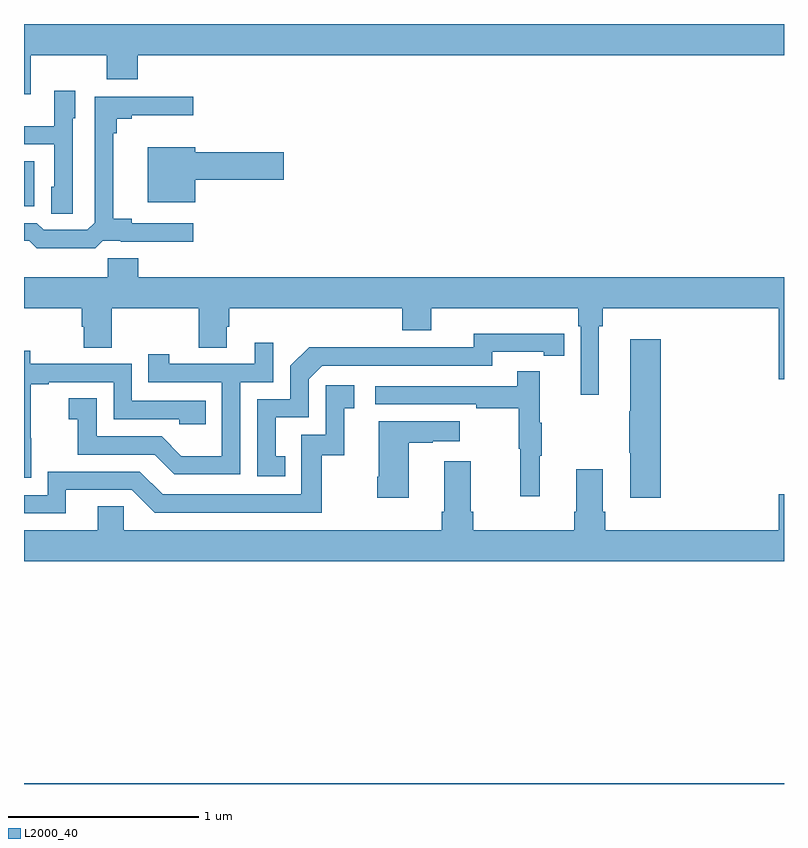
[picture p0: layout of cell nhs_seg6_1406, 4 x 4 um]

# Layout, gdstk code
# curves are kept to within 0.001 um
import gdstk
lib = gdstk.Library(unit=1e-6, precision=1e-09)
def R(c, l, rs):  # rectangles x0, y0, x1, y1
    for r in rs: c.add(gdstk.rectangle(r[:2], r[2:], *l))
def P(c, l, *ps):  # polygons
    for p in ps: c.add(gdstk.Polygon(p, *l))
L2000_40 = (2000, 40)

nhs_seg6_1406 = lib.new_cell('nhs_seg6_1406')
R(nhs_seg6_1406, L2000_40, [(197,943.5,201,943.504), (197,946.541,197.053,946.777)])
P(nhs_seg6_1406, L2000_40, [(197.035,947.336),(197.435,947.336),(197.435,947.208),(197.599,947.208),(197.599,947.336),(201,947.336),(201,947.5),(197,947.5),(197,947.13),(197.035,947.13)],
  [(197.256,947.004),(197.269,947.004),(197.269,947.149),(197.16,947.149),(197.16,946.963),(197,946.963),(197,946.866),(197.16,946.866),(197.16,946.644),(197.144,946.644),(197.144,946.501),(197.256,946.501)],
  [(197.415,946.359),(197.509,946.359),(197.509,946.355),(197.89,946.355),(197.89,946.452),(197.566,946.452),(197.566,946.475),(197.471,946.475),(197.471,946.925),(197.489,946.925),(197.489,947.002),(197.566,947.002),(197.566,947.021),(197.89,947.021),(197.89,947.118),(197.373,947.118),(197.373,946.455),(197.334,946.416),(197.103,946.416),(197.067,946.452),(197,946.452),(197,946.359),(197.028,946.359),(197.068,946.32),(197.375,946.32)],
  [(197.902,946.679),(198.367,946.679),(198.367,946.826),(197.902,946.826),(197.902,946.852),(197.651,946.852),(197.651,946.562),(197.902,946.562)],
  [(200.026,945.908),(200.045,945.908),(200.045,946.004),(200.972,946.004),(200.972,945.63),(201,945.63),(201,946.168),(197.6,946.168),(197.6,946.266),(197.44,946.266),(197.44,946.168),(197,946.168),(197,946.004),(197.303,946.004),(197.303,945.906),(197.315,945.906),(197.315,945.796),(197.463,945.796),(197.463,946.004),(197.92,946.004),(197.92,945.796),(198.067,945.796),(198.067,945.906),(198.08,945.906),(198.08,946.004),(198.992,946.004),(198.992,945.887),(199.144,945.887),(199.144,946.004),(199.916,946.004),(199.916,945.908),(199.929,945.908),(199.929,945.549),(200.026,945.549)],
  [(198.374,945.225),(198.325,945.225),(198.325,945.429),(198.498,945.429),(198.498,945.63),(198.57,945.702),(199.464,945.702),(199.464,945.774),(199.736,945.774),(199.736,945.754),(199.844,945.754),(199.844,945.87),(199.368,945.871),(199.368,945.798),(198.908,945.798),(198.908,945.8),(198.5,945.8),(198.402,945.702),(198.402,945.525),(198.228,945.525),(198.228,945.12),(198.374,945.12)],
  [(200.351,945.841),(200.192,945.841),(200.192,945.461),(200.185,945.461),(200.185,945.244),(200.192,945.244),(200.192,945.006),(200.351,945.006)],
  [(198.138,945.615),(198.312,945.615),(198.312,945.823),(198.215,945.823),(198.215,945.711),(197.764,945.711),(197.764,945.763),(197.653,945.763),(197.653,945.615),(198.042,945.615),(198.042,945.226),(197.828,945.226),(197.724,945.33),(197.382,945.33),(197.382,945.529),(197.235,945.529),(197.235,945.419),(197.284,945.419),(197.284,945.234),(197.687,945.234),(197.792,945.129),(198.138,945.129)],
  [(197.037,945.319),(197.036,945.319),(197.036,945.603),(197.131,945.603),(197.131,945.615),(197.472,945.615),(197.472,945.42),(197.817,945.42),(197.817,945.393),(197.957,945.393),(197.957,945.516),(197.568,945.516),(197.568,945.711),(197.034,945.711),(197.034,945.78),(197,945.78),(197,945.113),(197.037,945.113)],
  [(199.715,945.227),(199.726,945.227),(199.726,945.401),(199.715,945.401),(199.715,945.673),(199.597,945.673),(199.597,945.594),(198.849,945.594),(198.849,945.498),(199.381,945.498),(199.381,945.478),(199.605,945.478),(199.605,945.264),(199.612,945.264),(199.612,945.015),(199.715,945.015)],
  [(197.221,945.048),(197.568,945.048),(197.688,944.928),(198.568,944.928),(198.568,945.231),(198.686,945.231),(198.686,945.477),(198.739,945.477),(198.739,945.598),(198.588,945.598),(198.588,945.339),(198.459,945.339),(198.459,945.024),(197.73,945.024),(197.61,945.144),(197.124,945.144),(197.124,945.021),(197,945.021),(197,944.925),(197.221,944.925)],
  [(199.024,945.295),(199.151,945.295),(199.151,945.305),(199.294,945.305),(199.294,945.409),(198.866,945.409),(198.866,945.118),(198.859,945.118),(198.859,945.006),(199.024,945.006)],
  [(201,945.025),(200.972,945.025),(200.972,944.836),(200.06,944.836),(200.06,944.932),(200.047,944.932),(200.047,945.157),(199.907,945.157),(199.907,944.932),(199.895,944.932),(199.895,944.836),(199.364,944.836),(199.364,944.932),(199.351,944.932),(199.351,945.199),(199.211,945.199),(199.211,944.932),(199.199,944.932),(199.199,944.836),(197.526,944.836),(197.526,944.963),(197.387,944.963),(197.387,944.836),(197,944.836),(197,944.672),(201,944.672)])

lib.write_gds('nhs_seg6_1406.gds')
